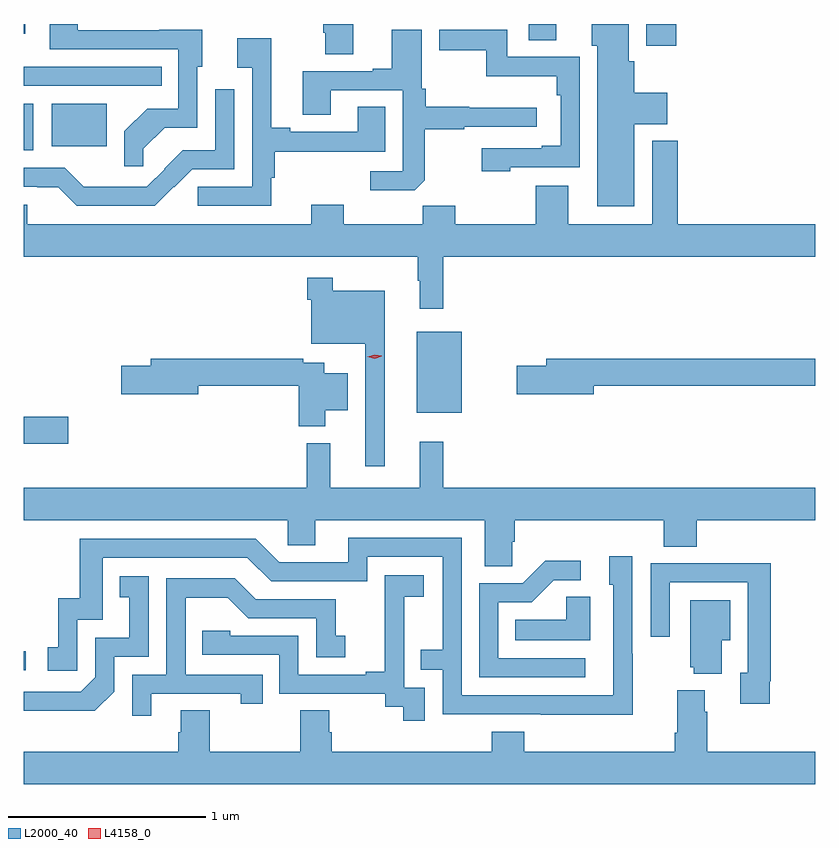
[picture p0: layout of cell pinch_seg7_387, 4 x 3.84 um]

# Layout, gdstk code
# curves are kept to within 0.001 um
import gdstk
lib = gdstk.Library(unit=1e-6, precision=1e-09)
def R(c, l, rs):  # rectangles x0, y0, x1, y1
    for r in rs: c.add(gdstk.rectangle(r[:2], r[2:], *l))
def P(c, l, *ps):  # polygons
    for p in ps: c.add(gdstk.Polygon(p, *l))
L2000_40 = (2000, 40)
L4158_0 = (4158, 0)

pinch_seg7_387 = lib.new_cell('pinch_seg7_387')
R(pinch_seg7_387, L2000_40, [(603.736,1026.498,603.748,1026.594), (603.736,1027.643,603.961,1027.778), (605.723,1027.799,605.95,1028.209), (603.736,1029.125,603.784,1029.361), (603.878,1029.146,604.156,1029.361), (606.881,1029.654,607.034,1029.763), (606.287,1029.682,606.427,1029.763), (603.736,1029.714,603.745,1029.763)])
P(pinch_seg7_387, L2000_40, [(606.82,1029.257),(606.988,1029.257),(606.988,1029.415),(606.82,1029.415),(606.82,1029.576),(606.793,1029.576),(606.793,1029.763),(606.605,1029.763),(606.605,1029.653),(606.635,1029.653),(606.635,1028.843),(606.82,1028.843)],
  [(605.401,1029.763),(605.249,1029.763),(605.249,1029.718),(605.261,1029.718),(605.261,1029.61),(605.401,1029.61)],
  [(604.34,1029.132),(604.448,1029.24),(604.614,1029.24),(604.614,1029.546),(604.639,1029.546),(604.639,1029.734),(604.421,1029.734),(604.421,1029.732),(604.009,1029.732),(604.009,1029.763),(603.869,1029.763),(603.869,1029.636),(604.518,1029.636),(604.518,1029.336),(604.361,1029.336),(604.245,1029.22),(604.245,1029.045),(604.34,1029.045)],
  [(606.195,1029.039),(606.546,1029.039),(606.546,1029.597),(606.18,1029.597),(606.18,1029.734),(605.835,1029.734),(605.835,1029.631),(606.072,1029.631),(606.072,1029.5),(606.43,1029.5),(606.43,1029.404),(606.45,1029.404),(606.45,1029.148),(606.353,1029.148),(606.353,1029.135),(606.051,1029.135),(606.051,1029.02),(606.195,1029.02)],
  [(605.763,1028.973),(605.763,1029.231),(605.963,1029.231),(605.963,1029.243),(606.328,1029.243),(606.328,1029.34),(605.987,1029.34),(605.987,1029.344),(605.768,1029.344),(605.768,1029.436),(605.748,1029.436),(605.748,1029.733),(605.597,1029.733),(605.597,1029.538),(605.501,1029.538),(605.501,1029.525),(605.147,1029.525),(605.147,1029.304),(605.287,1029.304),(605.287,1029.429),(605.652,1029.429),(605.652,1029.018),(605.487,1029.018),(605.487,1028.922),(605.711,1028.922)],
  [(604.988,1028.987),(605.006,1028.987),(605.006,1029.118),(605.563,1029.118),(605.563,1029.344),(605.423,1029.344),(605.423,1029.219),(605.083,1029.219),(605.083,1029.239),(604.987,1029.239),(604.987,1029.691),(604.815,1029.691),(604.815,1029.542),(604.89,1029.542),(604.89,1028.94),(604.617,1028.94),(604.617,1028.844),(604.988,1028.844)],
  [(604.433,1029.546),(603.773,1029.546),(603.773,1029.547),(603.736,1029.547),(603.736,1029.45),(604.433,1029.45)],
  [(604.495,1028.94),(604.496,1028.939),(604.587,1029.03),(604.8,1029.03),(604.8,1029.433),(604.704,1029.433),(604.704,1029.126),(604.541,1029.126),(604.447,1029.032),(604.449,1029.03),(604.359,1028.94),(604.144,1028.94),(604.144,1028.942),(604.04,1028.942),(603.945,1029.036),(603.736,1029.036),(603.736,1028.94),(603.911,1028.939),(604.005,1028.844),(604.399,1028.844)],
  [(605.855,1028.588),(607.736,1028.588),(607.736,1028.752),(607.04,1028.752),(607.04,1029.172),(606.911,1029.172),(606.911,1028.752),(606.487,1028.752),(606.487,1028.947),(606.323,1028.947),(606.323,1028.752),(605.917,1028.752),(605.917,1028.845),(605.753,1028.845),(605.753,1028.752),(605.353,1028.752),(605.353,1028.851),(605.189,1028.851),(605.189,1028.752),(603.754,1028.752),(603.754,1028.85),(603.736,1028.85),(603.736,1028.588),(605.727,1028.588),(605.727,1028.465),(605.738,1028.465),(605.738,1028.325),(605.855,1028.325)],
  [(605.56,1028.416),(605.299,1028.416),(605.299,1028.482),(605.17,1028.482),(605.17,1028.369),(605.19,1028.369),(605.19,1028.147),(605.463,1028.147),(605.463,1027.53),(605.56,1027.53)],
  [(605.26,1027.811),(605.374,1027.811),(605.374,1027.999),(605.254,1027.999),(605.254,1028.052),(605.15,1028.052),(605.15,1028.072),(604.379,1028.072),(604.379,1028.036),(604.23,1028.036),(604.23,1027.894),(604.618,1027.894),(604.618,1027.936),(605.126,1027.936),(605.126,1027.73),(605.26,1027.73)],
  [(606.616,1027.936),(607.736,1027.936),(607.736,1028.072),(606.377,1028.072),(606.377,1028.036),(606.228,1028.036),(606.228,1027.894),(606.616,1027.894)],
  [(606.204,1027.147),(606.218,1027.147),(606.218,1027.256),(606.971,1027.256),(606.971,1027.123),(607.136,1027.123),(607.136,1027.256),(607.736,1027.256),(607.736,1027.42),(605.855,1027.42),(605.855,1027.654),(605.738,1027.654),(605.738,1027.42),(605.285,1027.42),(605.285,1027.645),(605.167,1027.645),(605.167,1027.42),(603.736,1027.42),(603.736,1027.256),(605.07,1027.256),(605.07,1027.129),(605.209,1027.129),(605.209,1027.256),(606.065,1027.256),(606.065,1027.024),(606.204,1027.024)],
  [(606.813,1026.581),(606.81,1026.581),(606.81,1027.075),(606.695,1027.075),(606.695,1026.93),(606.714,1026.93),(606.714,1026.372),(605.949,1026.372),(605.949,1027.167),(605.375,1027.167),(605.375,1027.044),(605.028,1027.044),(604.908,1027.164),(604.021,1027.164),(604.021,1026.862),(603.911,1026.862),(603.911,1026.615),(603.858,1026.615),(603.858,1026.495),(604.008,1026.495),(604.008,1026.753),(604.137,1026.753),(604.137,1027.068),(604.866,1027.068),(604.986,1026.948),(605.472,1026.948),(605.472,1027.071),(605.853,1027.071),(605.853,1026.602),(605.743,1026.602),(605.743,1026.501),(605.853,1026.501),(605.853,1026.276),(606.813,1026.275)],
  [(606.574,1026.558),(606.135,1026.558),(606.135,1026.843),(606.304,1026.843),(606.415,1026.954),(606.55,1026.954),(606.55,1027.052),(606.371,1027.052),(606.258,1026.939),(606.039,1026.939),(606.039,1026.462),(606.574,1026.462)],
  [(607.504,1026.442),(607.511,1026.442),(607.511,1027.04),(607.219,1027.04),(607.219,1027.038),(606.903,1027.038),(606.903,1026.669),(606.999,1026.669),(606.999,1026.942),(607.395,1026.942),(607.395,1026.486),(607.355,1026.486),(607.355,1026.33),(607.504,1026.33)],
  [(605.763,1026.411),(605.658,1026.411),(605.658,1026.641),(605.66,1026.641),(605.66,1026.869),(605.758,1026.869),(605.758,1026.979),(605.56,1026.979),(605.56,1026.773),(605.561,1026.773),(605.561,1026.49),(605.465,1026.49),(605.465,1026.477),(605.124,1026.477),(605.124,1026.672),(604.779,1026.672),(604.779,1026.699),(604.639,1026.699),(604.639,1026.576),(605.028,1026.576),(605.028,1026.381),(605.562,1026.381),(605.562,1026.313),(605.655,1026.313),(605.655,1026.243),(605.763,1026.243)],
  [(604.194,1026.39),(604.194,1026.567),(604.368,1026.567),(604.368,1026.973),(604.222,1026.973),(604.222,1026.867),(604.271,1026.867),(604.271,1026.663),(604.098,1026.663),(604.098,1026.462),(604.026,1026.39),(603.736,1026.39),(603.736,1026.293),(604.096,1026.293)],
  [(604.381,1026.381),(604.832,1026.381),(604.832,1026.33),(604.943,1026.33),(604.943,1026.477),(604.554,1026.477),(604.554,1026.866),(604.768,1026.866),(604.872,1026.762),(605.214,1026.762),(605.214,1026.564),(605.362,1026.564),(605.362,1026.673),(605.313,1026.673),(605.313,1026.858),(604.909,1026.858),(604.804,1026.963),(604.458,1026.963),(604.458,1026.477),(604.284,1026.477),(604.284,1026.27),(604.381,1026.27)],
  [(606.598,1026.869),(606.477,1026.869),(606.477,1026.754),(606.22,1026.754),(606.22,1026.65),(606.598,1026.65)],
  [(607.264,1026.65),(607.306,1026.65),(607.306,1026.853),(607.103,1026.853),(607.103,1026.513),(607.121,1026.513),(607.121,1026.482),(607.264,1026.482)],
  [(607.736,1026.088),(607.19,1026.088),(607.19,1026.29),(607.177,1026.29),(607.177,1026.397),(607.037,1026.397),(607.037,1026.184),(607.025,1026.184),(607.025,1026.088),(606.266,1026.088),(606.266,1026.187),(606.101,1026.187),(606.101,1026.088),(605.294,1026.088),(605.294,1026.186),(605.281,1026.186),(605.281,1026.296),(605.134,1026.296),(605.134,1026.088),(604.677,1026.088),(604.677,1026.296),(604.529,1026.296),(604.529,1026.186),(604.517,1026.186),(604.517,1026.088),(603.736,1026.088),(603.736,1025.924),(607.736,1025.924)])
P(pinch_seg7_387, L4158_0, [(605.51,1028.073),(605.473,1028.081),(605.473,1028.081),(605.473,1028.082),(605.509,1028.093),(605.545,1028.086),(605.545,1028.086),(605.545,1028.085)])

lib.write_gds('pinch_seg7_387.gds')
